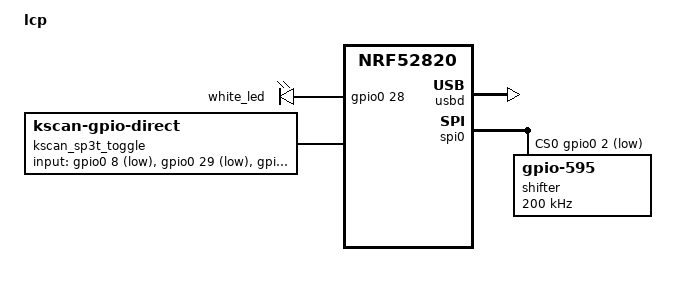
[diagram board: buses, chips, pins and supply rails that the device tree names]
/*
 * Copyright (c) 2024 The ZMK Contributors
 *
 * SPDX-License-Identifier: MIT
 */

/dts-v1/;

#include <nordic/nrf52820_qdaa.dtsi>
#include "mwave-pinctrl.dtsi"
#include <dt-bindings/zmk/matrix_transform.h>



/ {
    model = "lcp";
    compatible = "polarityworks,lcp";

    chosen {
        zephyr,code-partition = &code_partition;
        zephyr,sram = &sram0;
        zephyr,flash = &flash0;
        zephyr,console = &cdc_acm_uart;
        zmk,backlight = &backlight;
    };

    backlight: gpio-leds {
        compatible = "gpio-leds";
        white_led: led_0w {
            gpios = <&gpio0 28 GPIO_ACTIVE_HIGH>;
        };
    };

    kscan_sp3t_toggle: kscan_sp3t_toggle {


        compatible = "zmk,kscan-gpio-direct";
        toggle-mode;

        input-gpios
            = <&gpio0 8 GPIO_ACTIVE_LOW>
            , <&gpio0 29 GPIO_ACTIVE_LOW>
            , <&gpio0 30 GPIO_ACTIVE_LOW>
            ;
    };
};

&gpiote {
    status = "okay";
};

&gpio0 {
    status = "okay";
};

&usbd {
    status = "okay";
    cdc_acm_uart: cdc_acm_uart {
        compatible = "zephyr,cdc-acm-uart";
    };
};

&spi0 {
    status = "okay";
    compatible = "nordic,nrf-spim";
    pinctrl-0 = <&spi0_default>;
    pinctrl-1 = <&spi0_sleep>;
    pinctrl-names = "default", "sleep";
    cs-gpios = <&gpio0 2 GPIO_ACTIVE_LOW>;
	shifter: 595@0 {
		compatible = "zmk,gpio-595";
		status = "okay";
		gpio-controller;
		spi-max-frequency = <200000>;
		reg = <0>;
		#gpio-cells = <2>;
		ngpios = <24>;
	};
};


&flash0 {
    /*
     * For more information, see:
     * http://docs.zephyrproject.org/latest/devices/dts/flash_partitions.html
     */
    partitions {
        compatible = "fixed-partitions";
        #address-cells = <1>;
        #size-cells = <1>;

        code_partition: partition@000 {
            reg = <0x0000000 0x0003c000>;
        };

        storage_partition: partition@3c000 {
            reg = <0x0003c000 0x00008000>;
        };

        boot_partition: partition@34000 {
            reg = <0x00034000 0x0000c000>;
        };
    };
};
